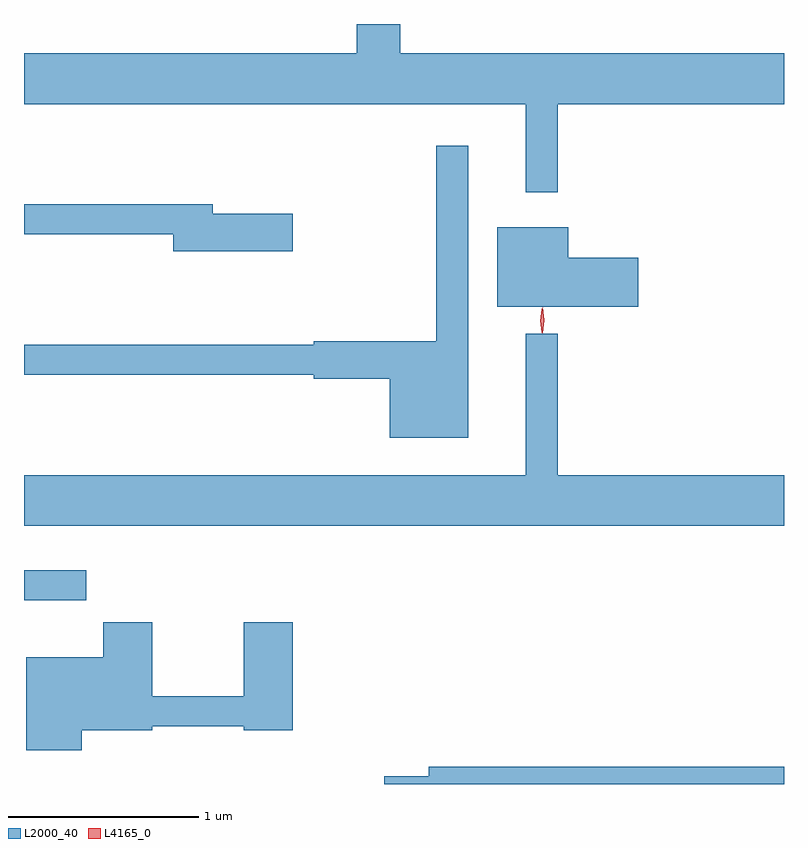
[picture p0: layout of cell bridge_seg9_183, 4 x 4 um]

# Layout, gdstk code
import gdstk
lib = gdstk.Library(unit=1e-6, precision=1e-09)
def R(c, l, rs):  # rectangles x0, y0, x1, y1
    for r in rs: c.add(gdstk.rectangle(r[:2], r[2:], *l))
def P(c, l, *ps):  # polygons
    for p in ps: c.add(gdstk.Polygon(p, *l))
L2000_40 = (2000, 40)
L4165_0 = (4165, 0)

bridge_seg9_183 = lib.new_cell('bridge_seg9_183')
R(bridge_seg9_183, L2000_40, [(1102.11,2073.566,1102.438,2073.724), (1104.391,2076.596,1104.974,2076.598)])
P(bridge_seg9_183, L2000_40, [(1104.919,2076.176),(1106.11,2076.176),(1106.11,2076.444),(1104.089,2076.444),(1104.089,2076.598),(1103.861,2076.598),(1103.861,2076.444),(1102.11,2076.444),(1102.11,2076.176),(1104.751,2076.176),(1104.751,2075.713),(1104.919,2075.713)],
  [(1104.449,2075.958),(1104.281,2075.958),(1104.281,2074.929),(1103.636,2074.929),(1103.636,2074.909),(1102.11,2074.909),(1102.11,2074.751),(1103.636,2074.751),(1103.636,2074.731),(1104.036,2074.731),(1104.036,2074.421),(1104.449,2074.421)],
  [(1103.524,2075.599),(1103.104,2075.599),(1103.104,2075.649),(1102.11,2075.649),(1102.11,2075.491),(1102.896,2075.491),(1102.896,2075.401),(1103.524,2075.401)],
  [(1105.344,2075.369),(1104.974,2075.369),(1104.974,2075.529),(1104.601,2075.529),(1104.601,2075.111),(1105.344,2075.111)],
  [(1106.11,2074.224),(1104.919,2074.224),(1104.919,2074.968),(1104.751,2074.968),(1104.751,2074.224),(1102.11,2074.224),(1102.11,2073.956),(1106.11,2073.956)],
  [(1102.414,2072.881),(1102.784,2072.881),(1102.784,2072.901),(1103.266,2072.901),(1103.266,2072.881),(1103.524,2072.881),(1103.524,2073.449),(1103.266,2073.449),(1103.266,2073.059),(1102.784,2073.059),(1102.784,2073.449),(1102.526,2073.449),(1102.526,2073.264),(1102.121,2073.264),(1102.121,2072.776),(1102.414,2072.776)],
  [(1106.11,2072.689),(1104.241,2072.689),(1104.241,2072.639),(1104.006,2072.639),(1104.006,2072.598),(1106.11,2072.598)])
P(bridge_seg9_183, L4165_0, [(1104.839,2074.97),(1104.839,2074.97),(1104.829,2075.038),(1104.839,2075.106),(1104.839,2075.106),(1104.84,2075.106),(1104.849,2075.038),(1104.84,2074.97)],
  [(1104.836,2074.973),(1104.827,2075.036),(1104.836,2075.1),(1104.837,2075.1),(1104.838,2075.1),(1104.847,2075.036),(1104.838,2074.973),(1104.837,2074.973)])

lib.write_gds('bridge_seg9_183.gds')
